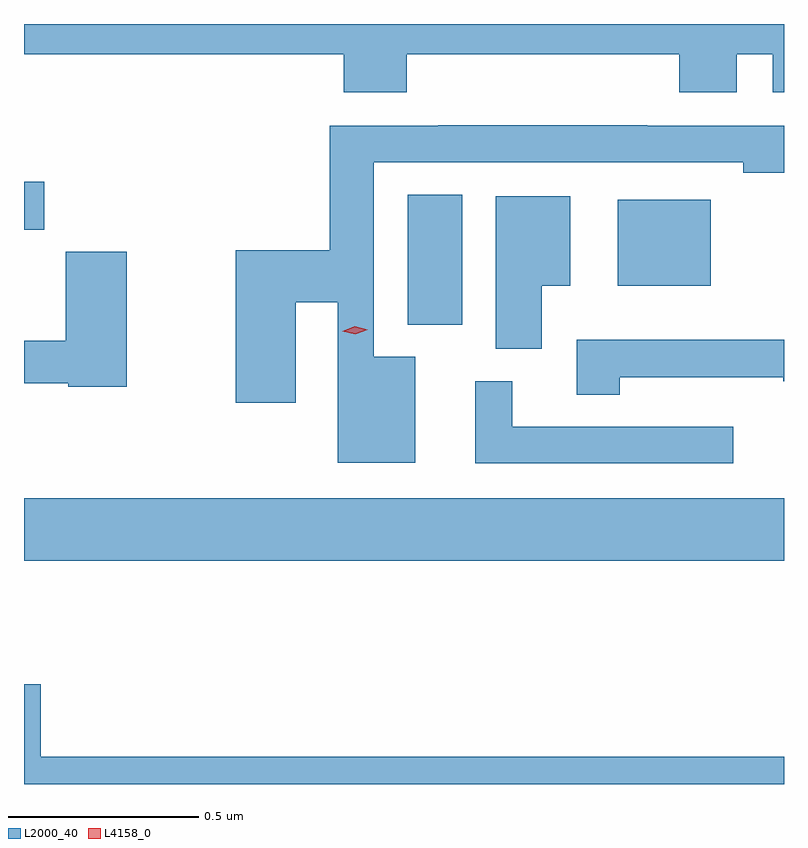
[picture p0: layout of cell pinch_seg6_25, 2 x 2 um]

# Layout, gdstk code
import gdstk
lib = gdstk.Library(unit=1e-6, precision=1e-09)
def R(c, l, rs):  # rectangles x0, y0, x1, y1
    for r in rs: c.add(gdstk.rectangle(r[:2], r[2:], *l))
def P(c, l, *ps):  # polygons
    for p in ps: c.add(gdstk.Polygon(p, *l))
L2000_40 = (2000, 40)
L4158_0 = (4158, 0)

pinch_seg6_25 = lib.new_cell('pinch_seg6_25')
R(pinch_seg6_25, L2000_40, [(952.887,959.324,954.887,959.488), (953.897,959.945,954.04,960.287), (954.449,960.047,954.694,960.274), (952.887,960.195,952.94,960.321)])
P(pinch_seg6_25, L2000_40, [(952.887,960.656),(953.729,960.656),(953.729,960.557),(953.894,960.557),(953.894,960.656),(954.611,960.656),(954.611,960.557),(954.763,960.557),(954.763,960.656),(954.857,960.656),(954.857,960.557),(954.887,960.557),(954.887,960.736),(952.887,960.736)],
  [(953.917,959.86),(953.808,959.86),(953.808,960.372),(954.78,960.372),(954.78,960.344),(954.887,960.344),(954.887,960.468),(954.527,960.468),(954.527,960.47),(953.977,960.47),(953.977,960.468),(953.692,960.468),(953.692,960.14),(953.444,960.14),(953.444,959.739),(953.602,959.739),(953.602,960.004),(953.712,960.004),(953.712,959.582),(953.917,959.582)],
  [(954.25,960.047),(954.325,960.047),(954.325,960.283),(954.128,960.283),(954.128,959.881),(954.25,959.881)],
  [(953.158,960.137),(952.997,960.137),(952.997,959.903),(952.887,959.903),(952.887,959.79),(953.004,959.79),(953.004,959.782),(953.158,959.782)],
  [(954.455,959.807),(954.885,959.807),(954.885,959.796),(954.887,959.796),(954.887,959.905),(954.342,959.905),(954.342,959.761),(954.455,959.761)],
  [(954.754,959.676),(954.172,959.676),(954.172,959.796),(954.074,959.796),(954.074,959.58),(954.754,959.58)],
  [(954.887,958.808),(952.931,958.808),(952.931,958.999),(952.887,958.999),(952.887,958.736),(954.887,958.736)])
P(pinch_seg6_25, L4158_0, [(953.759,959.92),(953.725,959.928),(953.725,959.928),(953.725,959.928),(953.758,959.94),(953.792,959.932),(953.792,959.932),(953.792,959.932)])

lib.write_gds('pinch_seg6_25.gds')
